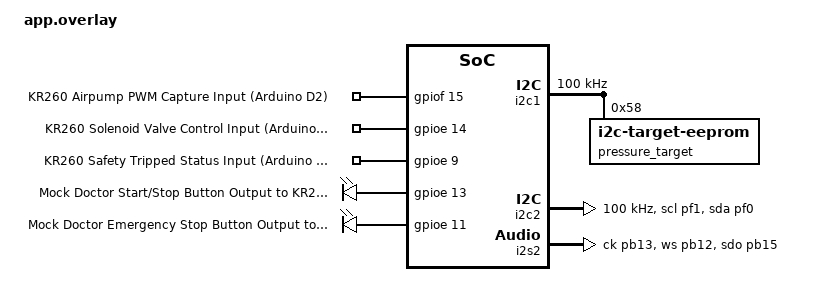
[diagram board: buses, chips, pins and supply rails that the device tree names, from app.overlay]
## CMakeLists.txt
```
cmake_minimum_required(VERSION 3.20.0)

# Only disable &ucpd1 in app.overlay when the installed Zephyr board DTS defines it
# (nucleo_h563zi added &ucpd1 in Zephyr 4.5+; older Zephyr releases on CI lack it).
set(_zephyr_base "${ZEPHYR_BASE}")
if(NOT _zephyr_base)
    set(_zephyr_base "$ENV{ZEPHYR_BASE}")
endif()
if(EXISTS "${_zephyr_base}/boards/st/nucleo_h563zi/nucleo_h563zi-common.dtsi")
    file(READ "${_zephyr_base}/boards/st/nucleo_h563zi/nucleo_h563zi-common.dtsi" _nucleo_dtsi)
    string(FIND "${_nucleo_dtsi}" "&ucpd1" _has_ucpd1)
    if(NOT _has_ucpd1 EQUAL -1)
        list(APPEND DTS_EXTRA_CPPFLAGS "-DHAS_NUCLEO_UCPD1=1")
    endif()
endif()

find_package(Zephyr REQUIRED HINTS $ENV{ZEPHYR_BASE})
project(hil_stm32_firmware)

target_include_directories(app PRIVATE src)

target_sources(app PRIVATE 
    src/main.c
    src/gi_state_machine.c
    src/audio_leak.c
    src/io_controller.c
    src/kr260/kr260_pwm_receiver.c
)
```

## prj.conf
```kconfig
# ==============================================================================
# Zephyr RTOS Project Configuration for STM32H5 HIL Simulator
# ==============================================================================

# 1. ระบบ Logging และ Printk
CONFIG_PRINTK=y
CONFIG_LOG=y
CONFIG_LOG_DEFAULT_LEVEL=3
CONFIG_CBPRINTF_FP_SUPPORT=y

# 2. ไดรเวอร์ I2C (รองรับทั้ง Controller/Master และ Target/Slave)
CONFIG_I2C=y
CONFIG_I2C_TARGET=y
CONFIG_I2C_EEPROM_TARGET=y

# 3. ไดรเวอร์ GPIO (สำหรับ PWM Capture และ KR260 Control IOs)
CONFIG_GPIO=y

# 4. Zephyr Shell Subsystem (สำหรับรับคำสั่ง Testbench API ผ่าน USB Serial)
CONFIG_SHELL=y
CONFIG_SHELL_BACKENDS=y
CONFIG_SHELL_BACKEND_SERIAL=y
CONFIG_SHELL_PROMPT_UART="hil:~$ "
CONFIG_SHELL_CMD_BUFF_SIZE=256
CONFIG_SHELL_PRINTF_BUFF_SIZE=512

# 5. Multithreading & Timing
CONFIG_MULTITHREADING=y

# 6. ไดรเวอร์ I2S Audio Transmitter (จำลองสัญญาณ I2S Digital Mic สำหรับเสียงลมรั่ว)
CONFIG_I2S=y

CONFIG_I2C_SHELL=y
CONFIG_GPIO_SHELL=y
```

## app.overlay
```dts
/*
 * DeviceTree Overlay สำหรับ STM32H563ZI (Nucleo-H563ZI)
 *
 * 1. I2C1: Target (Slave) จำลอง Sensor Registers ที่ Address 0x58
 *          - พิน D15 (PB8) = SCL (ช่อง CN7 pin 2)
 *          - พิน D14 (PB9) = SDA (ช่อง CN7 pin 4)
 * 2. I2C2: Controller (Master) สำหรับทดสอบ Loopback ข้ามขา D69 / D68
 *          - พิน D69 (PF1) = SCL (ช่อง CN9 pin 19)
 *          - พิน D68 (PF0) = SDA (ช่อง CN9 pin 21)
 * 3. Doctor Start/Stop Button (Output):
 *          - พิน D3 (PE13)
 * 4. Doctor Emergency Stop Button (Output):
 *          - พิน D5 (PE11)
 * 5. KR260 Solenoid Purge Valve Command (Input):
 *          - พิน D4 (PE14)
 * 6. KR260 Safety Tripped Status (Input):
 *          - พิน D6 (PE9)
 * 7. Leak Audio Digital I2S Output (Emulated Digital Mic):
 *          - BCLK (SCK) : พิน D18 (PB13) (CN7 pin 30)
 *          - WS (LRCLK) : พิน D19 (PB12) (CN7 pin 16)
 *          - SD (DOUT)  : พิน D17 (PB15) (CN7 pin 26)
 * 8. KR260 PWM Input:
 *          - พิน D2 (PF15)
 */

/ {
    aliases {
        hil-target            = &pressure_target;
        hil-master            = &i2c2;
        hil-audio-i2s         = &i2s2;
        kr260-pwm             = &kr260_pwm_input;
        kr260-start-stop      = &kr260_start_stop_output;
        kr260-estop-btn       = &kr260_estop_button_output;
        kr260-solenoid        = &kr260_solenoid_input;
        kr260-safety-tripped  = &kr260_safety_tripped_input;
        kr260-estop           = &kr260_safety_tripped_input;
    };

    kr260_hil_inputs {
        compatible = "gpio-keys";
        kr260_pwm_input: pwm_in {
            gpios = <&gpiof 15 (GPIO_ACTIVE_HIGH | GPIO_PULL_DOWN)>;
            label = "KR260 Airpump PWM Capture Input (Arduino D2)";
        };
        kr260_solenoid_input: solenoid_in {
            gpios = <&gpioe 14 (GPIO_ACTIVE_HIGH | GPIO_PULL_DOWN)>;
            label = "KR260 Solenoid Valve Control Input (Arduino D4)";
        };
        kr260_safety_tripped_input: safety_tripped_in {
            gpios = <&gpioe 9 (GPIO_ACTIVE_HIGH | GPIO_PULL_DOWN)>;
            label = "KR260 Safety Tripped Status Input (Arduino D6)";
        };
    };

    kr260_hil_outputs {
        compatible = "gpio-leds";
        kr260_start_stop_output: start_stop_out {
            gpios = <&gpioe 13 GPIO_ACTIVE_HIGH>;
            label = "Mock Doctor Start/Stop Button Output to KR260 (Arduino D3)";
        };
        kr260_estop_button_output: estop_btn_out {
            gpios = <&gpioe 11 GPIO_ACTIVE_HIGH>;
            label = "Mock Doctor Emergency Stop Button Output to KR260 (Arduino D5)";
        };
    };
};

/* เปิดใช้งาน GPIO Controllers */
&gpiob { status = "okay"; };
&gpioe { status = "okay"; };
&gpiof { status = "okay"; };

/* I2C1: กำหนดเป็น Target (Slave) บนพิน D15 (SCL) / D14 (SDA) */
&i2c1 {
    status = "okay";
    clock-frequency = <I2C_BITRATE_STANDARD>; /* 100 kHz */

    pressure_target: eeprom_slave@58 {
        compatible = "zephyr,i2c-target-eeprom";
        reg = <0x58>;
        size = <256>;
        auto-register;
    };
};

/* I2C2: กำหนดเป็น Controller (Master) บนพิน D69 (SCL) / D68 (SDA) สำหรับ Loopback */
&i2c2 {
    pinctrl-0 = <&i2c2_scl_pf1 &i2c2_sda_pf0>;
    pinctrl-names = "default";
    status = "okay";
    clock-frequency = <I2C_BITRATE_STANDARD>;
};

/* ปลดการจองขาพิน PB13 / PB15 จาก Ethernet และ UCPD เพื่อให้ I2S2 นำไปใช้งานได้ */
&mac {
    status = "disabled";
};

#ifdef HAS_NUCLEO_UCPD1
&ucpd1 {
    status = "disabled";
};
#endif

/* I2S2: จำลอง Digital MEMS Microphone สำหรับสัญญาณเสียงลมรั่ว (Leak Audio)
 * - PB13 (Arduino D18) : BCLK
 * - PB12 (Arduino D19) : WS / LRCLK
 * - PB15 (Arduino D17) : SD / Serial Data Out
 */
&i2s2 {
    pinctrl-0 = <&i2s2_ck_pb13 &i2s2_ws_pb12 &i2s2_sdo_pb15>;
    pinctrl-names = "default";
    status = "okay";
};
```

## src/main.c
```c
/**
 * @file main.c
 * @brief STM32H5 HIL Plant Simulator (Zephyr RTOS)
 * @details จำลองสภาพแวดล้อมทางเดินอาหาร (GI Plant & Insufflator Simulation)
 *          - รับคำสั่ง Airpump PWM และ GPIO Command จาก Kria KR260
 *          - จำลองแรงดันก๊าซผ่านบัส I2C Target (EEPROM Addr 0x58)
 *          - ขับสัญญาณเสียงลมรั่ว AC Audio Waveform ผ่าน DAC
 *          - ควบคุม Finite State Machine สอดคล้องกับภาพกล้องตรวจ (Mock Camera Stream)
 *          - รองรับ UART Test API สำหรับ Host CI/CD Testbench
 */

#include <zephyr/kernel.h>
#include <zephyr/device.h>
#include <zephyr/drivers/i2c.h>
#include <zephyr/drivers/i2c/target/eeprom.h>
#include <zephyr/shell/shell.h>
#include <zephyr/logging/log.h>
#include <stdio.h>
#include <stdlib.h>
#include <string.h>
#include <strings.h>

#include "kr260/kr260_pwm_receiver.h"
#include "gi_state_machine.h"
#include "audio_leak.h"
#include "io_controller.h"

LOG_MODULE_REGISTER(hil_main, LOG_LEVEL_INF);

/* -------------------------------------------------------------------------- */
/* นิยาม Register Map ของ I2C Pressure Sensor Mock (Addr: 0x58)                */
/* จำลอง Standard 16-bit Digital Pressure Sensor (Big-Endian MSB + LSB)        */
/* -------------------------------------------------------------------------- */
#define TARGET_I2C_ADDR       0x58
#define REG_PRESSURE_MSB      0x00  /* Pressure in kPa * 100 (MSB) */
#define REG_PRESSURE_LSB      0x01  /* Pressure in kPa * 100 (LSB) */
#define REG_STATUS            0x02  /* Bitfield Status */
#define REG_CHIP_ID           0x03  /* 0x58 */
#define REG_GI_STATE          0x04  /* State ID: 0..5 */
#define REG_PUMP_DUTY         0x05  /* Duty 0-100% */
#define REG_TARGET_PRESSURE   0x06  /* Target Pressure Setpoint */
#define REG_IO_STATUS         0x07  /* Bit 0: Start/Stop, Bit 1: E-Stop, Bit 2: Valve */
#define BUFFER_SIZE           256

/* Status Bits */
#define STATUS_BIT_LEAK       (1 << 0)
#define STATUS_BIT_VALVE      (1 << 1)
#define STATUS_BIT_PUMPING    (1 << 2)
#define STATUS_BIT_AUDIO      (1 << 3)
#define STATUS_BIT_CAMERA     (1 << 4)
#define STATUS_BIT_ESTOP      (1 << 5)

static uint8_t g_i2c_buffer[BUFFER_SIZE];
static struct k_mutex g_i2c_mutex;
static const struct device *g_target_dev;

static void update_eeprom_memory(void)
{
    if (g_target_dev && device_is_ready(g_target_dev)) {
        eeprom_target_write_data(g_target_dev, 0, g_i2c_buffer, 8);
    }
}

/* -------------------------------------------------------------------------- */
/* Thread ประมวลผลจำลองระบบและปรับปรุงค่า Register (20 Hz / 50ms)              */
/* -------------------------------------------------------------------------- */
#define SIM_STACK_SIZE 2048
#define SIM_PRIORITY   7

static void plant_sim_thread_entry(void *p1, void *p2, void *p3)
{
    ARG_UNUSED(p1);
    ARG_UNUSED(p2);
    ARG_UNUSED(p3);

    LOG_INF("HIL Plant Simulator Core Thread Started.");
    const float dt = 0.05f;

    while (1) {
        // 1. อ่านอินพุตจาก KR260 (PWM และ GPIO)
        float pump_duty = kr260_pwm_get_duty_cycle();
        uint32_t pwm_freq = kr260_pwm_get_frequency_hz();
        bool start_stop_io = io_controller_get_start_stop();
        bool doctor_estop_btn = io_controller_get_doctor_estop();
        bool kr260_tripped = io_controller_get_safety_tripped();
        bool solenoid_open = io_controller_get_solenoid_valve();

        // 2. อัปเดต Finite State Machine
        gi_state_machine_update(dt, pump_duty, pwm_freq, start_stop_io,
                                doctor_estop_btn, kr260_tripped, solenoid_open);

        // 3. อ่านสถานะปัจจุบันของระบบ
        gi_system_status_t sys_stat;
        gi_state_machine_get_status(&sys_stat);

        // 4. ซิงค์สัญญาณเสียง AC/I2S Audio Leak Generator กับ FSM
        audio_leak_sync_fsm(sys_stat.audio_leak_active);

        // 5. แปลงข้อมูลลง I2C Target Register Buffer
        k_mutex_lock(&g_i2c_mutex, K_FOREVER);

        uint16_t raw_pressure = (uint16_t)(sys_stat.current_pressure_kpa * 100.0f);
        uint8_t status_flags = 0;
        if (sys_stat.leak_active)        status_flags |= STATUS_BIT_LEAK;
        if (sys_stat.solenoid_valve_open) status_flags |= STATUS_BIT_VALVE;
        if (sys_stat.pump_duty > 0.05f)  status_flags |= STATUS_BIT_PUMPING;
        if (sys_stat.audio_leak_active || audio_leak_is_active())  status_flags |= STATUS_BIT_AUDIO;
        if (sys_stat.state != GI_STATE_IDLE) status_flags |= STATUS_BIT_CAMERA;
        if (sys_stat.estop_active)       status_flags |= STATUS_BIT_ESTOP;

        uint8_t io_flags = 0;
        if (sys_stat.start_stop_io)      io_flags |= (1 << 0);
        if (sys_stat.estop_active)       io_flags |= (1 << 1);
        if (sys_stat.solenoid_valve_open) io_flags |= (1 << 2);

        g_i2c_buffer[REG_CHIP_ID]         = TARGET_I2C_ADDR;
        g_i2c_buffer[REG_STATUS]          = status_flags;
        g_i2c_buffer[REG_PRESSURE_MSB]    = (raw_pressure >> 8) & 0xFF;
        g_i2c_buffer[REG_PRESSURE_LSB]    = raw_pressure & 0xFF;
        g_i2c_buffer[REG_GI_STATE]        = (uint8_t)sys_stat.state;
        g_i2c_buffer[REG_PUMP_DUTY]       = (uint8_t)(sys_stat.pump_duty * 100.0f);
        g_i2c_buffer[REG_TARGET_PRESSURE] = (uint8_t)sys_stat.target_pressure_kpa;
        g_i2c_buffer[REG_IO_STATUS]       = io_flags;

        update_eeprom_memory();

        k_mutex_unlock(&g_i2c_mutex);

        k_msleep(50);
    }
}

K_THREAD_DEFINE(sim_thread_id, SIM_STACK_SIZE,
                plant_sim_thread_entry, NULL, NULL, NULL,
                SIM_PRIORITY, 0, 0);

/* -------------------------------------------------------------------------- */
/* ฟังก์ชัน I2C Loopback Self-test                                             */
/* -------------------------------------------------------------------------- */
static int run_i2c_loopback_test(uint16_t *read_raw_pressure, uint8_t *read_chip_id)
{
    const struct device *i2c_master = DEVICE_DT_GET(DT_ALIAS(hil_master));
    if (!device_is_ready(i2c_master)) {
        LOG_ERR("I2C Master device (hil-master) is not ready!");
        return -ENODEV;
    }

    uint8_t reg_addr = REG_PRESSURE_MSB;
    uint8_t rx_data[2] = {0};

    int ret = i2c_write_read(i2c_master, TARGET_I2C_ADDR,
                             &reg_addr, 1,
                             rx_data, sizeof(rx_data));
    if (ret != 0) {
        LOG_ERR("I2C Loopback Transaction Failed (err: %d)", ret);
        return ret;
    }

    *read_chip_id = TARGET_I2C_ADDR;
    *read_raw_pressure = (rx_data[0] << 8) | rx_data[1];
    return 0;
}

/* -------------------------------------------------------------------------- */
/* Zephyr Shell Commands (UART Test API สำหรับ Host Laptop)                   */
/* -------------------------------------------------------------------------- */
static int cmd_hil_status(const struct shell *sh, size_t argc, char **argv)
{
    ARG_UNUSED(argc);
    ARG_UNUSED(argv);

    gi_system_status_t s;
    gi_state_machine_get_status(&s);

    k_mutex_lock(&g_i2c_mutex, K_FOREVER);
    // รายงานผลเป็น JSON Format ละเอียดสำหรับ Pytest Framework
    shell_print(sh,
        "{\"chip_id\": \"0x%02X\", \"state\": \"%s\", \"state_id\": %d, "
        "\"pressure_kpa\": %.2f, \"target_kpa\": %.2f, \"pump_duty\": %.2f, \"pwm_freq_hz\": %u, "
        "\"leak\": %s, \"valve_open\": %s, \"audio_active\": %s, "
        "\"start_stop_io\": %s, \"estop\": %s, \"doctor_estop_btn\": %s, \"kr260_safety_tripped\": %s, "
        "\"camera_scene\": \"%s\", \"auto\": %s}",
        g_i2c_buffer[REG_CHIP_ID],
        gi_state_to_str(s.state),
        (int)s.state,
        (double)s.current_pressure_kpa,
        (double)s.target_pressure_kpa,
        (double)s.pump_duty,
        s.pwm_freq_hz,
        s.leak_active ? "true" : "false",
        s.solenoid_valve_open ? "true" : "false",
        (s.audio_leak_active || audio_leak_is_active()) ? "true" : "false",
        s.start_stop_io ? "true" : "false",
        s.estop_active ? "true" : "false",
        s.doctor_estop_btn ? "true" : "false",
        s.kr260_safety_tripped ? "true" : "false",
        s.camera_scene,
        s.auto_simulation ? "true" : "false");
    k_mutex_unlock(&g_i2c_mutex);

    return 0;
}

static int cmd_hil_set_state(const struct shell *sh, size_t argc, char **argv)
{
    if (argc < 2) {
        shell_error(sh, "Usage: hil set_state <IDLE|INSUFFLATE|INSPECT|LEAK|DEFLATE|ESTOP>");
        return -EINVAL;
    }

    const char *state_arg = argv[1];
    gi_state_t target_state = GI_STATE_IDLE;

    if (strcasecmp(state_arg, "IDLE") == 0)             target_state = GI_STATE_IDLE;
    else if (strcasecmp(state_arg, "INSUFFLATE") == 0)  target_state = GI_STATE_INSUFFLATION;
    else if (strcasecmp(state_arg, "INSPECT") == 0)     target_state = GI_STATE_STABLE_INSPECTION;
    else if (strcasecmp(state_arg, "LEAK") == 0)        target_state = GI_STATE_LEAK_EVENT;
    else if (strcasecmp(state_arg, "DEFLATE") == 0)     target_state = GI_STATE_DEFLATION_STOP;
    else if (strcasecmp(state_arg, "ESTOP") == 0)       target_state = GI_STATE_EMERGENCY_STOP;
    else {
        shell_error(sh, "Unknown state: %s", state_arg);
        return -EINVAL;
    }

    gi_state_machine_set_state(target_state);
    shell_print(sh, "OK: State transitioned to %s", gi_state_to_str(target_state));
    return 0;
}

static int cmd_hil_set_pressure(const struct shell *sh, size_t argc, char **argv)
{
    if (argc < 2) {
        shell_error(sh, "Usage: hil set_pressure <float_value_in_kpa>");
        return -EINVAL;
    }

    float new_pressure = strtof(argv[1], NULL);
    gi_state_machine_set_fixed_pressure(new_pressure);
    shell_print(sh, "OK: Pressure set to %.2f kPa (Auto-sim disabled. Use 'hil auto 1' to enable decay/vent)", (double)new_pressure);
    return 0;
}

static int cmd_hil_auto(const struct shell *sh, size_t argc, char **argv)
{
    if (argc < 2) {
        shell_error(sh, "Usage: hil auto <0|1>");
        return -EINVAL;
    }

    int enable = atoi(argv[1]);
    gi_state_machine_set_auto(enable != 0);
    shell_print(sh, "OK: Auto Physics Simulation set to %d", enable);
    return 0;
}

static int cmd_hil_inject_leak(const struct shell *sh, size_t argc, char **argv)
{
    if (argc < 2) {
        shell_error(sh, "Usage: hil inject_leak <0|1>");
        return -EINVAL;
    }

    int leak_flag = atoi(argv[1]);
    gi_state_machine_inject_leak(leak_flag != 0);
    shell_print(sh, "OK: Leak injection set to %d", leak_flag);
    return 0;
}

static int cmd_hil_audio_leak(const struct shell *sh, size_t argc, char **argv)
{
    if (argc < 2) {
        shell_error(sh, "Usage: hil audio_leak <0|1>");
        return -EINVAL;
    }

    int audio_flag = atoi(argv[1]);
    audio_leak_set_enable(audio_flag != 0);
    shell_print(sh, "OK: AC Audio Leak set to %d", audio_flag);
    return 0;
}

static int cmd_hil_button(const struct shell *sh, size_t argc, char **argv)
{
    if (argc < 2) {
        shell_error(sh, "Usage: hil button <start|stop|estop_on|estop_off|pulse|status> [pulse_ms]");
        return -EINVAL;
    }

    if (strcasecmp(argv[1], "start") == 0) {
        io_controller_set_doctor_button(true);
        shell_print(sh, "OK: Doctor Button -> START (Driven 3.3V to KR260 Pin D3 to start AI & PID)");
    } else if (strcasecmp(argv[1], "stop") == 0) {
        io_controller_set_doctor_button(false);
        shell_print(sh, "OK: Doctor Button -> STOP (Driven 0V to KR260 Pin D3 to stop and vent)");
    } else if (strcasecmp(argv[1], "estop_on") == 0 || strcasecmp(argv[1], "estop") == 0) {
        io_controller_set_doctor_estop(true);
        shell_print(sh, "OK: Doctor Button -> EMERGENCY STOP PRESSED (Driven 3.3V to KR260 Pin D5)");
    } else if (strcasecmp(argv[1], "estop_off") == 0) {
        io_controller_set_doctor_estop(false);
        shell_print(sh, "OK: Doctor Button -> EMERGENCY STOP RELEASED (Driven 0V to KR260 Pin D5)");
    } else if (strcasecmp(argv[1], "pulse") == 0) {
        uint32_t ms = (argc >= 3) ? atoi(argv[2]) : 200;
        io_controller_pulse_doctor_button(ms);
        shell_print(sh, "OK: Doctor Button -> Momentary Pulse (%u ms) sent to KR260", ms);
    } else if (strcasecmp(argv[1], "status") == 0) {
        bool start_act = io_controller_get_start_stop();
        bool estop_act = io_controller_get_doctor_estop();
        shell_print(sh, "{\"button_start\": %s, \"button_estop\": %s}",
                    start_act ? "true" : "false", estop_act ? "true" : "false");
    } else {
        shell_error(sh, "Unknown action: %s (Use 'start', 'stop', 'estop_on', 'estop_off', 'pulse', or 'status')", argv[1]);
        return -EINVAL;
    }
    return 0;
}

static int cmd_hil_start_stop(const struct shell *sh, size_t argc, char **argv)
{
    if (argc < 2) {
        shell_error(sh, "Usage: hil set_start_stop <0|1>");
        return -EINVAL;
    }

    int val = atoi(argv[1]);
    io_controller_set_doctor_button(val != 0);
    shell_print(sh, "OK: Start/Stop IO set to %d", val);
    return 0;
}

static int cmd_hil_estop(const struct shell *sh, size_t argc, char **argv)
{
    if (argc < 2) {
        shell_error(sh, "Usage: hil set_estop <0|1>");
        return -EINVAL;
    }

    int val = atoi(argv[1]);
    io_controller_set_mock_estop(val != 0);
    shell_print(sh, "OK: E-Stop IO (Doctor Button & Safety Flag) set to %d", val);
    return 0;
}

static int cmd_hil_safety_tripped(const struct shell *sh, size_t argc, char **argv)
{
    if (argc < 2) {
        shell_error(sh, "Usage: hil set_safety_tripped <0|1>");
        return -EINVAL;
    }

    int val = atoi(argv[1]);
    io_controller_set_mock_safety_tripped(val != 0);
    shell_print(sh, "OK: KR260 Safety Tripped Status IO set to %d", val);
    return 0;
}

static int cmd_hil_solenoid(const struct shell *sh, size_t argc, char **argv)
{
    if (argc < 2) {
        shell_error(sh, "Usage: hil set_solenoid <0|1>");
        return -EINVAL;
    }

    int val = atoi(argv[1]);
    io_controller_set_mock_solenoid(val != 0);
    gi_state_machine_set_solenoid(val != 0);
    shell_print(sh, "OK: Solenoid Valve set to %d", val);
    return 0;
}

static int cmd_hil_reset(const struct shell *sh, size_t argc, char **argv)
{
    ARG_UNUSED(argc);
    ARG_UNUSED(argv);

    gi_state_machine_reset();
    audio_leak_clear_override();
    audio_leak_set_enable(false);
    io_controller_clear_mock_overrides();

    shell_print(sh, "OK: HIL System Simulator fully reset to IDLE (Mock GPIO overrides cleared)");
    return 0;
}

static int cmd_hil_test_gpio(const struct shell *sh, size_t argc, char **argv)
{
    ARG_UNUSED(argc);
    ARG_UNUSED(argv);

    int d3_out = -1, d5_btn_out = -1, d4_sol_in = -1, d6_trip_in = -1;
    io_controller_get_physical_levels(&d3_out, &d5_btn_out, &d4_sol_in, &d6_trip_in);

    shell_print(sh,
        "{\"physical_gpio\": {\"d3_button_out\": %d, \"d5_estop_btn_out\": %d, \"d4_solenoid_in\": %d, \"d6_safety_tripped_in\": %d}}",
        d3_out, d5_btn_out, d4_sol_in, d6_trip_in);
    return 0;
}

static int cmd_hil_loopback(const struct shell *sh, size_t argc, char **argv)
{
    ARG_UNUSED(argc);
    ARG_UNUSED(argv);

    uint16_t raw_pressure = 0;
    uint8_t chip_id = 0;

    shell_print(sh, "Starting I2C Loopback Self-Test...");
    int ret = run_i2c_loopback_test(&raw_pressure, &chip_id);
    if (ret == 0) {
        float parsed_pressure = (float)raw_pressure / 100.0f;
        shell_print(sh, "{\"loopback\": \"PASS\", \"read_chip_id\": \"0x%02X\", \"read_pressure\": %.2f}",
                    chip_id, (double)parsed_pressure);
    } else {
        shell_error(sh, "{\"loopback\": \"FAIL\", \"error_code\": %d}", ret);
    }

    return ret;
}

static int cmd_hil_scenario(const struct shell *sh, size_t argc, char **argv)
{
    if (argc < 2) {
        shell_error(sh, "Usage: hil scenario <normal|low_pressure|over_expansion|gas_leak|tube_kink|cough_spike> [custom_val]");
        return -EINVAL;
    }

    audio_leak_clear_override();
    float custom_val = (argc >= 3) ? strtof(argv[2], NULL) : 0.0f;
    int ret = gi_state_machine_apply_scenario(argv[1], custom_val);
    if (ret == 0) {
        shell_print(sh, "OK: Scenario '%s' loaded and running dynamically", argv[1]);
    } else {
        shell_error(sh, "Unknown scenario '%s'. Available: normal, low_pressure, over_expansion, gas_leak, tube_kink, cough_spike", argv[1]);
    }
    return ret;
}

static int cmd_hil_test_interfaces(const struct shell *sh, size_t argc, char **argv)
{
    ARG_UNUSED(argc);
    ARG_UNUSED(argv);

    uint16_t raw_pressure = 0;
    uint8_t chip_id = 0;
    int i2c_ret = run_i2c_loopback_test(&raw_pressure, &chip_id);
    const char *i2c_status = (i2c_ret == 0 && chip_id == TARGET_I2C_ADDR) ? "PASS" : "WAIT_WIRING";

    bool io_start = io_controller_get_start_stop();
    bool io_estop_btn = io_controller_get_doctor_estop();
    bool io_sol = io_controller_get_solenoid_valve();
    bool io_tripped = io_controller_get_safety_tripped();
    bool io_estop = io_controller_get_estop();

    float pwm_duty = kr260_pwm_get_duty_cycle();
    uint32_t pwm_freq = kr260_pwm_get_frequency_hz();
    bool pwm_active = kr260_pwm_is_signal_active();

    bool i2s_active = audio_leak_is_active();

    shell_print(sh,
        "{\"interface_loopback_test\": {"
        "\"i2c_target_0x58\": \"%s\", "
        "\"io_lines\": {\"start_stop\": %s, \"doctor_estop_btn\": %s, \"solenoid\": %s, \"kr260_safety_tripped\": %s, \"estop\": %s}, "
        "\"pwm_capture\": {\"active\": %s, \"duty_pct\": %.2f, \"freq_hz\": %u}, "
        "\"i2s_audio_leak\": {\"active\": %s}, "
        "\"status\": \"READY\"}}",
        i2c_status,
        io_start ? "true" : "false", io_estop_btn ? "true" : "false", io_sol ? "true" : "false",
        io_tripped ? "true" : "false", io_estop ? "true" : "false",
        pwm_active ? "true" : "false", (double)(pwm_duty * 100.0f), pwm_freq,
        i2s_active ? "true" : "false"
    );

    return 0;
}

/* ลงทะเบียนคำสั่ง CLI ย่อย */
SHELL_STATIC_SUBCMD_SET_CREATE(sub_hil,
    SHELL_CMD(status, NULL, "Get full HIL plant status (JSON)", cmd_hil_status),
    SHELL_CMD(scenario, NULL, "Apply named clinical scenario <normal|low_pressure|over_expansion|gas_leak|...>", cmd_hil_scenario),
    SHELL_CMD(set_state, NULL, "Force FSM state <IDLE|INSUFFLATE|INSPECT|LEAK|DEFLATE|ESTOP>", cmd_hil_set_state),
    SHELL_CMD(set_pressure, NULL, "Set fixed pressure value in kPa", cmd_hil_set_pressure),
    SHELL_CMD(auto, NULL, "Enable or disable auto physics simulation <0|1>", cmd_hil_auto),
    SHELL_CMD(inject_leak, NULL, "Inject or clear gas leak <0|1>", cmd_hil_inject_leak),
    SHELL_CMD(audio_leak, NULL, "Control AC Audio Leak Generator <0|1>", cmd_hil_audio_leak),
    SHELL_CMD(button, NULL, "Simulate Doctor Start/Stop/E-Stop button <start|stop|estop_on|estop_off|pulse|status>", cmd_hil_button),
    SHELL_CMD(set_start_stop, NULL, "Set Start/Stop IO command <0|1>", cmd_hil_start_stop),
    SHELL_CMD(set_estop, NULL, "Set Doctor E-Stop & Safety Flag <0|1>", cmd_hil_estop),
    SHELL_CMD(set_safety_tripped, NULL, "Set KR260 Safety Tripped Status IO <0|1>", cmd_hil_safety_tripped),
    SHELL_CMD(set_solenoid, NULL, "Set Solenoid Purge Valve <0|1>", cmd_hil_solenoid),
    SHELL_CMD(reset, NULL, "Reset plant simulator to default IDLE", cmd_hil_reset),
    SHELL_CMD(loopback, NULL, "Execute I2C loopback test", cmd_hil_loopback),
    SHELL_CMD(test_gpio, NULL, "Read physical GPIO levels (D3, D5, D4, D6)", cmd_hil_test_gpio),
    SHELL_CMD(test_interfaces, NULL, "Execute all interface loopback & status tests", cmd_hil_test_interfaces),
    SHELL_SUBCMD_SET_END
);

SHELL_CMD_REGISTER(hil, &sub_hil, "HIL GI Simulator Testbench API", NULL);

/* -------------------------------------------------------------------------- */
/* ฟังก์ชัน Main เริ่มต้นระบบ                                                  */
/* -------------------------------------------------------------------------- */
int main(void)
{
    LOG_INF("==================================================");
    LOG_INF(" STM32H5 HIL Plant Simulator Initializing...     ");
    LOG_INF(" GI Insufflator, Audio Leak & Camera Mock Core    ");
    LOG_INF(" OS: Zephyr RTOS | Target: Nucleo-H563ZI         ");
    LOG_INF("==================================================");

    k_mutex_init(&g_i2c_mutex);

    // 1. เริ่มต้น Subsystems ทั้งหมด
    gi_state_machine_init();
    audio_leak_init();
    io_controller_init();

    // 2. กำหนดค่า Buffer เริ่มต้น
    g_i2c_buffer[REG_PRESSURE_MSB] = (10132 >> 8) & 0xFF;
    g_i2c_buffer[REG_PRESSURE_LSB] = 10132 & 0xFF;
    g_i2c_buffer[REG_STATUS]       = 0x00;
    g_i2c_buffer[REG_CHIP_ID]      = TARGET_I2C_ADDR;

    // 3. ผูก I2C Target EEPROM Device
    g_target_dev = DEVICE_DT_GET(DT_ALIAS(hil_target));
    if (!device_is_ready(g_target_dev)) {
        LOG_ERR("Target device (hil-target) is NOT ready!");
        return -ENODEV;
    }

    int reg_ret = i2c_target_driver_register(g_target_dev);
    if (reg_ret != 0) {
    LOG_ERR("i2c_target_driver_register failed: %d", reg_ret);
    return reg_ret;
    }
    update_eeprom_memory();

    // 4. เริ่มต้น PWM Receiver จาก KR260
    int ret = kr260_pwm_receiver_init();
    if (ret != 0) {
        LOG_WRN("KR260 PWM Receiver init returned %d (Pin may not be driven yet)", ret);
    }

    LOG_INF("I2C Target registered at address 0x%02X successfully.", TARGET_I2C_ADDR);
    LOG_INF("Zephyr Shell ready. Type 'hil status' to inspect system.");

    return 0;
}
```

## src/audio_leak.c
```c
/**
 * @file audio_leak.c
 * @brief จำลองสัญญาณเสียงลมรั่วดิจิทัล (Digital I2S Audio Transmitter)
 *        จำลองสัญญาณ Digital MEMS Microphone ผ่าน I2S2 (DMA-driven PCM stream)
 */

#include "audio_leak.h"
#include <zephyr/device.h>
#include <zephyr/drivers/i2s.h>
#include <zephyr/logging/log.h>
#include <string.h>

LOG_MODULE_REGISTER(audio_leak, LOG_LEVEL_INF);

#if DT_NODE_HAS_STATUS(DT_NODELABEL(i2s2), okay)
static const struct device *const i2s_dev = DEVICE_DT_GET(DT_NODELABEL(i2s2));
#else
static const struct device *const i2s_dev = NULL;
#endif

static bool g_audio_enabled = false;
static bool g_manual_override = false;
static uint32_t g_freq_hz = 3000;
static bool g_i2s_ready = false;

#define AUDIO_STACK_SIZE 2048
#define AUDIO_PRIORITY   10

/*
 * การตั้งค่า Audio Buffer สำหรับ I2S DMA Ring:
 * - 16 kHz Sample Rate, 16-bit PCM, 2 Channels (Stereo frame)
 * - แต่ละ Block มี 256 samples ต่อ Channel = 512 int16_t = 1024 Bytes (16 ms ต่อ Block)
 * - 4 Blocks = 64 ms Ring buffer ป้องกัน DMA Underrun
 */
#define NUM_BLOCKS 4
#define SAMPLES_PER_BLOCK 256
#define BLOCK_SIZE (SAMPLES_PER_BLOCK * 2 * sizeof(int16_t))

#ifdef CONFIG_NOCACHE_MEMORY
#define MEM_SLAB_CACHE_ATTR __nocache
#else
#define MEM_SLAB_CACHE_ATTR
#endif

static char MEM_SLAB_CACHE_ATTR __aligned(4)
    _i2s_tx_slab_buffer[NUM_BLOCKS * BLOCK_SIZE];

static struct k_mem_slab i2s_tx_slab;

/*
 * ตาราง Sine Wave 16 จุด ความละเอียด 16-bit signed (-16000 ถึง +16000)
 * ที่ Fs = 16 kHz: 16 จุดจะบรรจุ 3 รอบคลื่นพอดี -> f = (3 / 16) * 16000 = 3000 Hz!
 */
static const int16_t SINE_LUT_3KHZ[16] = {
         0,  14782,  11314,  -6123, -16000,  -6123,  11314,  14782,
         0, -14782, -11314,   6123,  16000,   6123, -11314, -14782
};

static void audio_thread_entry(void *p1, void *p2, void *p3)
{
    ARG_UNUSED(p1);
    ARG_UNUSED(p2);
    ARG_UNUSED(p3);

    LOG_INF("I2S Digital Audio Leak Thread Started.");

    if (!g_i2s_ready || i2s_dev == NULL) {
        LOG_WRN("I2S device not ready. Digital Audio Leak stream halted.");
        return;
    }

    bool streaming = false;
    uint32_t lut_idx = 0;

    while (1) {
        void *tx_buf = NULL;

        /* จัดสรร Buffer จาก Memory Slab (ถ้า Buffer เต็ม DMA จะคืนบล็อกกลับมาเอง) */
        int ret = k_mem_slab_alloc(&i2s_tx_slab, &tx_buf, K_MSEC(100));
        if (ret != 0 || tx_buf == NULL) {
            k_msleep(5);
            continue;
        }

        int16_t *samples = (int16_t *)tx_buf;

        if (g_audio_enabled) {
            /* สร้างสัญญาณเสียง Hiss 3 kHz PCM Stereo Frame */
            for (size_t i = 0; i < SAMPLES_PER_BLOCK; i++) {
                int16_t val = SINE_LUT_3KHZ[lut_idx & 0x0F];
                lut_idx++;
                /* I2S Stereo format: Channel 0 (Left), Channel 1 (Right) */
                samples[2 * i]     = val;
                samples[2 * i + 1] = val;
            }
        } else {
            /* เมื่อ Muted: ส่ง Digital Silence (0) ให้ Bit Clock ยังวิ่งเสถียร */
            memset(tx_buf, 0, BLOCK_SIZE);
            lut_idx = 0;
        }

        /* ส่งข้อมูลเข้า I2S Driver (DMA Queue) */
        ret = i2s_write(i2s_dev, tx_buf, BLOCK_SIZE);
        if (ret < 0) {
            /* กรณีส่งไม่ผ่าน ต้องคืนบล็อกเข้า Slab เองเพื่อไม่ให้ Memory รั่ว */
            k_mem_slab_free(&i2s_tx_slab, tx_buf);
            k_msleep(10);
            continue;
        }

        /* เริ่ม Trigger ให้ I2S DMA ทำงานในครั้งแรก */
        if (!streaming) {
            ret = i2s_trigger(i2s_dev, I2S_DIR_TX, I2S_TRIGGER_START);
            if (ret == 0) {
                streaming = true;
                LOG_INF("I2S DMA Audio Stream Triggered Successfully.");
            }
        }
    }
}

K_THREAD_DEFINE(audio_thread_id, AUDIO_STACK_SIZE,
                audio_thread_entry, NULL, NULL, NULL,
                AUDIO_PRIORITY, 0, 0);

int audio_leak_init(void)
{
    g_audio_enabled = false;
    g_i2s_ready = false;

    k_mem_slab_init(&i2s_tx_slab, _i2s_tx_slab_buffer, BLOCK_SIZE, NUM_BLOCKS);

    if (i2s_dev == NULL || !device_is_ready(i2s_dev)) {
        LOG_ERR("I2S2 device not available or not ready!");
        return -ENODEV;
    }

    struct i2s_config i2s_cfg = {
        .word_size = 16U,
        .channels = 2U,
        .format = I2S_FMT_DATA_FORMAT_I2S,
        .options = I2S_OPT_FRAME_CLK_CONTROLLER | I2S_OPT_BIT_CLK_CONTROLLER,
        .frame_clk_freq = 16000, /* 16 kHz Sample Rate (Standard MEMS Mic) */
        .mem_slab = &i2s_tx_slab,
        .block_size = BLOCK_SIZE,
        .timeout = 1000,
    };

    int ret = i2s_configure(i2s_dev, I2S_DIR_TX, &i2s_cfg);
    if (ret != 0) {
        LOG_ERR("Failed to configure I2S2 transmitter: %d", ret);
        return ret;
    }

    g_i2s_ready = true;
    LOG_INF("I2S2 Digital Audio Leak Initialized: 16kHz 16-bit (BCLK=PB13, WS=PB12, SD=PB15)");
    return 0;
}

static void audio_leak_apply(bool enable)
{
    if (g_audio_enabled == enable) {
        return;
    }

    g_audio_enabled = enable;
    if (enable) {
        LOG_INF("I2S Audio Leak: ACTIVATED (%u Hz PCM Sine Wave)", g_freq_hz);
    } else {
        LOG_INF("I2S Audio Leak: MUTED (Transmitting digital silence)");
    }
}

void audio_leak_set_enable(bool enable)
{
    g_manual_override = true;
    audio_leak_apply(enable);
}

void audio_leak_sync_fsm(bool fsm_active)
{
    if (!g_manual_override) {
        audio_leak_apply(fsm_active);
    }
}

void audio_leak_clear_override(void)
{
    g_manual_override = false;
}

bool audio_leak_is_active(void)
{
    return g_audio_enabled;
}

void audio_leak_set_frequency(uint32_t freq_hz)
{
    g_freq_hz = (freq_hz > 0) ? freq_hz : 3000;
}
```

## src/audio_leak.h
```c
/**
 * @file audio_leak.h
 * @brief โมดูลจำลองสัญญาณเสียงลมรั่วดิจิทัล (Digital I2S Audio Leak Simulator)
 *        สร้างสัญญาณดิจิทัล PCM Stereo Frame (จำลอง Digital MEMS Mic) ผ่าน I2S2
 *        - BCLK   : PB13 (Arduino D18)
 *        - WS     : PB12 (Arduino D19)
 *        - SD/DOUT: PB15 (Arduino D17)
 */

#ifndef AUDIO_LEAK_H_
#define AUDIO_LEAK_H_

#include <zephyr/kernel.h>
#include <stdbool.h>
#include <stdint.h>

#ifdef __cplusplus
extern "C" {
#endif

/**
 * @brief เริ่มต้นโมดูลสร้างสัญญาณเสียงลมรั่ว
 * @return 0 เมื่อสำเร็จ, ค่าติดลบเมื่อเกิดข้อผิดพลาด
 */
int audio_leak_init(void);

/**
 * @brief สั่งเปิด/ปิด สัญญาณเสียงลมรั่วแบบ Manual Override
 * @param enable true = เปิดเสียง (I2S Waveform Active), false = ปิดเสียง (Silent)
 */
void audio_leak_set_enable(bool enable);

/**
 * @brief ซิงค์สถานะเสียงกับ GI FSM อัตโนมัติ (จะไม่มีผลหากติด Manual Override)
 */
void audio_leak_sync_fsm(bool fsm_active);

/**
 * @brief เคลียร์ค่า Manual Override เพื่อให้ FSM ควบคุมเสียงตามสภาวะคลินิก
 */
void audio_leak_clear_override(void);

/**
 * @brief ตรวจสอบสถานะการทำงานของสัญญาณเสียง
 */
bool audio_leak_is_active(void);

/**
 * @brief กำหนดความถี่ของเสียงจำลอง (ค่าเริ่มต้น 3000 Hz)
 */
void audio_leak_set_frequency(uint32_t freq_hz);

#ifdef __cplusplus
}
#endif

#endif /* AUDIO_LEAK_H_ */
```

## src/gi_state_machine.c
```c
/**
 * @file gi_state_machine.c
 * @brief การทำงานของ State Machine จำลองสภาพแวดล้อมทางเดินอาหารและกล้องส่องตรวจ
 */

#include "gi_state_machine.h"
#include "io_controller.h"
#include <strings.h>
#include <string.h>
#include <zephyr/logging/log.h>

LOG_MODULE_REGISTER(gi_state_machine, LOG_LEVEL_INF);

#define AMBIENT_PRESSURE_KPA   101.325f
#define DEFAULT_TARGET_KPA     125.0f
#define OVERPRESSURE_LIMIT_KPA 150.0f

static struct k_mutex g_sm_mutex;
static gi_system_status_t g_status;

void gi_state_machine_init(void)
{
    k_mutex_init(&g_sm_mutex);

    g_status.state = GI_STATE_IDLE;
    g_status.current_pressure_kpa = AMBIENT_PRESSURE_KPA;
    g_status.target_pressure_kpa = DEFAULT_TARGET_KPA;
    g_status.pump_duty = 0.0f;
    g_status.pwm_freq_hz = 0;
    g_status.leak_active = false;
    g_status.solenoid_valve_open = false;
    g_status.audio_leak_active = false;
    g_status.start_stop_io = false;
    g_status.estop_active = false;
    g_status.doctor_estop_btn = false;
    g_status.kr260_safety_tripped = false;
    g_status.auto_simulation = true;
    g_status.camera_scene = "STANDBY_PRE_PROCEDURE";

    LOG_INF("GI State Machine Initialized in IDLE state.");
}

gi_state_t gi_state_machine_get_state(void)
{
    gi_state_t s;
    k_mutex_lock(&g_sm_mutex, K_FOREVER);
    s = g_status.state;
    k_mutex_unlock(&g_sm_mutex);
    return s;
}

const char* gi_state_to_str(gi_state_t state)
{
    switch (state) {
    case GI_STATE_IDLE:              return "IDLE";
    case GI_STATE_INSUFFLATION:      return "INSUFFLATION";
    case GI_STATE_STABLE_INSPECTION: return "STABLE_INSPECTION";
    case GI_STATE_LEAK_EVENT:        return "LEAK_EVENT";
    case GI_STATE_DEFLATION_STOP:    return "DEFLATION_STOP";
    case GI_STATE_EMERGENCY_STOP:    return "EMERGENCY_STOP";
    default:                         return "UNKNOWN";
    }
}

const char* gi_state_get_camera_scene(gi_state_t state)
{
    switch (state) {
    case GI_STATE_IDLE:
        return "STANDBY_EXTERNAL_VIEW";
    case GI_STATE_INSUFFLATION:
        return "LUMEN_EXPANDING_INSUFFLATION";
    case GI_STATE_STABLE_INSPECTION:
        return "MUCOSAL_INSPECTION_POLYP_ACTIVE";
    case GI_STATE_LEAK_EVENT:
        return "CAVITY_COLLAPSING_TURBULENT_BUBBLES";
    case GI_STATE_DEFLATION_STOP:
        return "DESUFFLATION_SCOPE_RETRACTION";
    case GI_STATE_EMERGENCY_STOP:
        return "EMERGENCY_FREEZE_WARNING_OVERLAY";
    default:
        return "UNKNOWN_SCENE";
    }
}

void gi_state_machine_set_state(gi_state_t new_state)
{
    k_mutex_lock(&g_sm_mutex, K_FOREVER);
    g_status.state = new_state;
    g_status.camera_scene = gi_state_get_camera_scene(new_state);

    if (new_state == GI_STATE_LEAK_EVENT) {
        g_status.leak_active = true;
        g_status.audio_leak_active = true;
    } else if (new_state == GI_STATE_DEFLATION_STOP) {
        g_status.solenoid_valve_open = true;
        g_status.audio_leak_active = false;
    } else if (new_state == GI_STATE_EMERGENCY_STOP) {
        g_status.estop_active = true;
        g_status.solenoid_valve_open = true;
        g_status.audio_leak_active = false;
    } else {
        g_status.audio_leak_active = false;
        g_status.solenoid_valve_open = false;
    }

    LOG_INF("State explicitly set to: %s", gi_state_to_str(new_state));
    k_mutex_unlock(&g_sm_mutex);
}

void gi_state_machine_update(float dt, float pump_duty, uint32_t pwm_freq,
                             bool start_stop_pin, bool doctor_estop_btn,
                             bool kr260_safety_tripped, bool solenoid_valve_pin)
{
    k_mutex_lock(&g_sm_mutex, K_FOREVER);

    g_status.pump_duty = pump_duty;
    g_status.pwm_freq_hz = pwm_freq;
    g_status.start_stop_io = start_stop_pin;
    g_status.doctor_estop_btn = doctor_estop_btn;
    g_status.kr260_safety_tripped = kr260_safety_tripped;

    bool estop_asserted = doctor_estop_btn || kr260_safety_tripped;
    g_status.estop_active = estop_asserted;
    g_status.solenoid_valve_open = solenoid_valve_pin;

    // 1. ตรวจสอบ Emergency Stop (ความสำคัญสูงสุด)
    if (estop_asserted || g_status.current_pressure_kpa >= OVERPRESSURE_LIMIT_KPA) {
        if (g_status.state != GI_STATE_EMERGENCY_STOP) {
            g_status.state = GI_STATE_EMERGENCY_STOP;
            g_status.solenoid_valve_open = true;
            g_status.audio_leak_active = false;
            LOG_ERR("EMERGENCY STOP TRIGGERED! (P=%.2f kPa, DoctorBtn=%d, KR260Tripped=%d)",
                    (double)g_status.current_pressure_kpa, doctor_estop_btn, kr260_safety_tripped);
        }
    }

    // 2. State Machine Transitions
    switch (g_status.state) {
    case GI_STATE_IDLE:
        g_status.audio_leak_active = false;
        // เริ่มต้นการอัดก๊าซ (INSUFFLATION) เฉพาะเมื่อ KR260 ส่งสัญญาณ PWM มาขับปั๊มลมจริงๆ (Strict Hardware-Driven)
        if (pump_duty > 0.05f) {
            g_status.state = GI_STATE_INSUFFLATION;
            LOG_INF("Transition -> INSUFFLATION (KR260 Air Pump PWM active: %.1f%%)",
                    (double)(pump_duty * 100.0f));
        }
        break;

    case GI_STATE_INSUFFLATION:
        if (g_status.leak_active) {
            g_status.state = GI_STATE_LEAK_EVENT;
            g_status.audio_leak_active = true;
            LOG_WRN("Transition -> LEAK_EVENT (Air leak detected during insufflation)");
        } else if (solenoid_valve_pin || (!start_stop_pin && pump_duty < 0.02f)) {
            g_status.state = GI_STATE_DEFLATION_STOP;
            g_status.solenoid_valve_open = true;
            LOG_INF("Transition -> DEFLATION_STOP (Procedure stopped or valve venting)");
        } else if (g_status.current_pressure_kpa >= (g_status.target_pressure_kpa - 2.5f)) {
            g_status.state = GI_STATE_STABLE_INSPECTION;
            LOG_INF("Transition -> STABLE_INSPECTION (Target reached: %.2f kPa)",
                    (double)g_status.current_pressure_kpa);
        }
        break;

    case GI_STATE_STABLE_INSPECTION:
        g_status.audio_leak_active = false;
        if (g_status.leak_active) {
            g_status.state = GI_STATE_LEAK_EVENT;
            g_status.audio_leak_active = true;
            LOG_WRN("Transition -> LEAK_EVENT (Air leak detected during inspection)");
        } else if (solenoid_valve_pin || (!start_stop_pin && pump_duty < 0.02f)) {
            g_status.state = GI_STATE_DEFLATION_STOP;
            g_status.solenoid_valve_open = true;
            LOG_INF("Transition -> DEFLATION_STOP (Stop asserted or valve venting)");
        } else if (g_status.current_pressure_kpa < (g_status.target_pressure_kpa - 8.0f)) {
            // ความดันตกต่ำกว่าเกณฑ์ กลับไปเร่งปั๊มใหม่
            g_status.state = GI_STATE_INSUFFLATION;
            LOG_INF("Transition back -> INSUFFLATION (Pressure low: %.2f kPa)",
                    (double)g_status.current_pressure_kpa);
        }
        break;

    case GI_STATE_LEAK_EVENT:
        g_status.audio_leak_active = true;
        if (!g_status.leak_active) {
            // ซ่อมรอยรั่วหรือเคลียร์สถานะรั่วแล้ว
            g_status.audio_leak_active = false;
            g_status.state = GI_STATE_INSUFFLATION;
            LOG_INF("Transition -> INSUFFLATION (Leak cleared, repressurizing)");
        } else if (!start_stop_pin && pump_duty < 0.02f) {
            g_status.state = GI_STATE_DEFLATION_STOP;
            g_status.audio_leak_active = false;
            g_status.solenoid_valve_open = true;
            LOG_INF("Transition -> DEFLATION_STOP");
        }
        break;

    case GI_STATE_DEFLATION_STOP:
        g_status.solenoid_valve_open = true;
        g_status.audio_leak_active = false;
        // เมื่อความดันระบายลงจนใกล้เคียงบรรยากาศ ให้กลับสู่ IDLE
        if (g_status.current_pressure_kpa <= (AMBIENT_PRESSURE_KPA + 1.0f)) {
            g_status.state = GI_STATE_IDLE;
            g_status.solenoid_valve_open = false;
            LOG_INF("Transition -> IDLE (Pressure back to ambient)");
        }
        break;

    case GI_STATE_EMERGENCY_STOP:
        g_status.solenoid_valve_open = true;
        g_status.audio_leak_active = false;
        // ปลด E-Stop ผ่านคำสั่ง reset หรือปล่อยขาสัญญาณ
        if (!estop_asserted && g_status.current_pressure_kpa <= AMBIENT_PRESSURE_KPA + 2.0f) {
            // รอคำสั่ง Explicit Reset จากผู้ใช้
        }
        break;
    }

    // 3. คำนวณสมการพลศาสตร์ Closed-Loop (เมื่อเปิด Auto Simulation)
    if (g_status.auto_simulation) {
        const float k_pump = 28.0f; // อัตราปั๊ม (kPa/s ที่ 100% duty)
        const float k_leak = 22.0f; // อัตราการรั่ว (kPa/s)
        const float k_vent = 35.0f; // อัตราการระบายของวาล์ว Solenoid

        float effective_duty = (g_status.state == GI_STATE_EMERGENCY_STOP) ? 0.0f : pump_duty;
        float dp = (k_pump * effective_duty) * dt;

        // หักลบผลจากการรั่ว (อัตรา 22 kPa/s)
        if ((g_status.leak_active || g_status.state == GI_STATE_LEAK_EVENT) &&
            g_status.current_pressure_kpa > AMBIENT_PRESSURE_KPA) {
            float overpressure = g_status.current_pressure_kpa - AMBIENT_PRESSURE_KPA;
            float leak_decay = (overpressure > 24.0f) ? k_leak : (k_leak * (overpressure / 24.0f));
            if (leak_decay < 1.0f) leak_decay = 1.0f;
            dp -= leak_decay * dt;
        }

        // หักลบผลจากวาล์ว Solenoid ระบายก๊าซ (อัตรา 35 kPa/s)
        if (g_status.solenoid_valve_open && g_status.current_pressure_kpa > AMBIENT_PRESSURE_KPA) {
            float overpressure = g_status.current_pressure_kpa - AMBIENT_PRESSURE_KPA;
            float vent_decay = (overpressure > 24.0f) ? k_vent : (k_vent * (overpressure / 24.0f));
            if (vent_decay < 1.0f) vent_decay = 1.0f;
            dp -= vent_decay * dt;
        } else if (effective_duty < 0.02f && g_status.current_pressure_kpa > AMBIENT_PRESSURE_KPA) {
            // ซึมออกตามธรรมชาติเล็กน้อย
            dp -= 0.3f * (g_status.current_pressure_kpa - AMBIENT_PRESSURE_KPA) * dt;
        }

        g_status.current_pressure_kpa += dp;
        if (g_status.current_pressure_kpa < AMBIENT_PRESSURE_KPA) {
            g_status.current_pressure_kpa = AMBIENT_PRESSURE_KPA;
        }
    }

    g_status.camera_scene = gi_state_get_camera_scene(g_status.state);

    k_mutex_unlock(&g_sm_mutex);
}

void gi_state_machine_get_status(gi_system_status_t *out_status)
{
    if (!out_status) return;
    k_mutex_lock(&g_sm_mutex, K_FOREVER);
    *out_status = g_status;
    k_mutex_unlock(&g_sm_mutex);
}

int gi_state_machine_apply_scenario(const char *name, float custom_val)
{
    if (!name) return -EINVAL;

    k_mutex_lock(&g_sm_mutex, K_FOREVER);

    // เมื่อเริ่ม Scenario ทางคลินิก ระบบถือว่าแพทย์เริ่มการตรวจ (Doctor Start = true)
    g_status.start_stop_io = true;
    io_controller_set_doctor_button(true);

    if (strcasecmp(name, "normal") == 0) {
        g_status.state = GI_STATE_STABLE_INSPECTION;
        g_status.current_pressure_kpa = (custom_val > 0) ? custom_val : DEFAULT_TARGET_KPA;
        g_status.leak_active = false;
        g_status.audio_leak_active = false;
        g_status.solenoid_valve_open = false;
        g_status.auto_simulation = true;
        LOG_INF("Scenario applied: NORMAL (P=%.2f kPa)", (double)g_status.current_pressure_kpa);
    } else if (strcasecmp(name, "low_pressure") == 0) {
        g_status.state = GI_STATE_INSUFFLATION;
        g_status.current_pressure_kpa = (custom_val > 0) ? custom_val : 110.0f;
        g_status.leak_active = false;
        g_status.audio_leak_active = false;
        g_status.solenoid_valve_open = false;
        g_status.auto_simulation = true;
        LOG_INF("Scenario applied: LOW_PRESSURE (P=%.2f kPa)", (double)g_status.current_pressure_kpa);
    } else if (strcasecmp(name, "over_expansion") == 0 || strcasecmp(name, "overpressure") == 0) {
        // เมื่อความดันเกินเพดานความปลอดภัย (150 kPa) ระบบจะตัดเข้า EMERGENCY_STOP เพื่อระบายก๊าซทิ้ง
        g_status.current_pressure_kpa = (custom_val > 0) ? custom_val : 152.0f;
        g_status.state = GI_STATE_EMERGENCY_STOP;
        g_status.leak_active = false;
        g_status.audio_leak_active = false;
        g_status.solenoid_valve_open = true;
        g_status.auto_simulation = true;
        LOG_INF("Scenario applied: OVER_EXPANSION (P=%.2f kPa, Safety Hazard Cutoff)", (double)g_status.current_pressure_kpa);
    } else if (strcasecmp(name, "gas_leak") == 0) {
        g_status.state = GI_STATE_LEAK_EVENT;
        g_status.current_pressure_kpa = (custom_val > 0) ? custom_val : 125.0f;
        g_status.leak_active = true;
        g_status.audio_leak_active = true;
        g_status.solenoid_valve_open = false;
        g_status.auto_simulation = true;
        LOG_INF("Scenario applied: GAS_LEAK (P=%.2f kPa, Audio Leak Active)", (double)g_status.current_pressure_kpa);
    } else if (strcasecmp(name, "tube_kink") == 0) {
        g_status.state = GI_STATE_INSUFFLATION;
        g_status.current_pressure_kpa = (custom_val > 0) ? custom_val : AMBIENT_PRESSURE_KPA;
        g_status.leak_active = false;
        g_status.audio_leak_active = false;
        g_status.solenoid_valve_open = false;
        g_status.auto_simulation = false; // Block pressure rise to simulate occlusion
        LOG_INF("Scenario applied: TUBE_KINK / OCCLUSION (P=%.2f kPa, Flat)", (double)g_status.current_pressure_kpa);
    } else if (strcasecmp(name, "cough_spike") == 0) {
        // อาการไอชั่วคราว ดันขึ้นสูงใกล้ขอบเขตปลอดภัย (145 kPa) แต่ยังไม่ตัดฉุกเฉิน
        g_status.state = GI_STATE_STABLE_INSPECTION;
        g_status.current_pressure_kpa = (custom_val > 0) ? custom_val : 145.0f;
        g_status.leak_active = false;
        g_status.audio_leak_active = false;
        g_status.solenoid_valve_open = false;
        g_status.auto_simulation = true;
        LOG_INF("Scenario applied: COUGH_SPIKE (P=%.2f kPa, Transient)", (double)g_status.current_pressure_kpa);
    } else {
        k_mutex_unlock(&g_sm_mutex);
        return -ENOENT;
    }

    g_status.camera_scene = gi_state_get_camera_scene(g_status.state);
    k_mutex_unlock(&g_sm_mutex);
    return 0;
}

void gi_state_machine_inject_leak(bool active)
{
    k_mutex_lock(&g_sm_mutex, K_FOREVER);
    g_status.leak_active = active;
    g_status.auto_simulation = true;
    if (active) {
        g_status.state = GI_STATE_LEAK_EVENT;
        g_status.audio_leak_active = true;
    }
    k_mutex_unlock(&g_sm_mutex);
}

void gi_state_machine_set_fixed_pressure(float pressure_kpa)
{
    k_mutex_lock(&g_sm_mutex, K_FOREVER);
    g_status.auto_simulation = false;
    g_status.current_pressure_kpa = pressure_kpa;
    k_mutex_unlock(&g_sm_mutex);
}

void gi_state_machine_set_auto(bool enable)
{
    k_mutex_lock(&g_sm_mutex, K_FOREVER);
    g_status.auto_simulation = enable;
    k_mutex_unlock(&g_sm_mutex);
}

void gi_state_machine_set_solenoid(bool open_valve)
{
    k_mutex_lock(&g_sm_mutex, K_FOREVER);
    g_status.solenoid_valve_open = open_valve;
    k_mutex_unlock(&g_sm_mutex);
}

void gi_state_machine_reset(void)
{
    k_mutex_lock(&g_sm_mutex, K_FOREVER);
    g_status.state = GI_STATE_IDLE;
    g_status.current_pressure_kpa = AMBIENT_PRESSURE_KPA;
    g_status.leak_active = false;
    g_status.solenoid_valve_open = false;
    g_status.audio_leak_active = false;
    g_status.estop_active = false;
    g_status.doctor_estop_btn = false;
    g_status.kr260_safety_tripped = false;
    g_status.auto_simulation = true;
    g_status.camera_scene = gi_state_get_camera_scene(GI_STATE_IDLE);
    LOG_INF("GI State Machine Reset to IDLE.");
    k_mutex_unlock(&g_sm_mutex);
}
```
